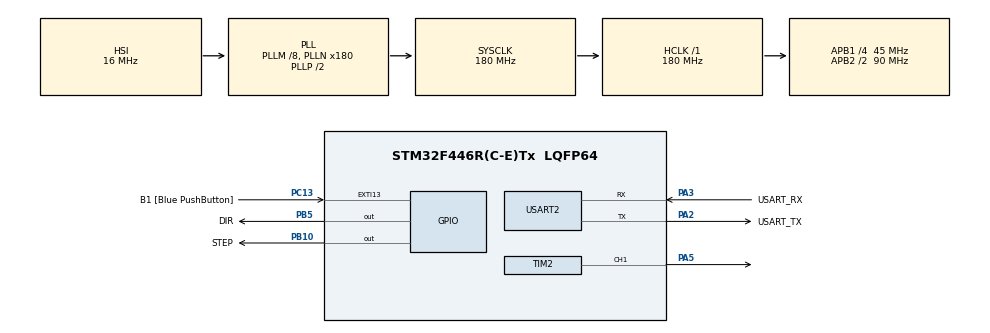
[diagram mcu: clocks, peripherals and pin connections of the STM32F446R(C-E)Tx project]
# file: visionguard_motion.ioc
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Mcu.Family=STM32F4
Mcu.Name=STM32F446R(C-E)Tx
Mcu.Package=LQFP64
NVIC.PriorityGroup=NVIC_PRIORITYGROUP_0
PA13.GPIO_Label=TMS
PA13.Mode=Serial_Wire
PA13.Signal=SYS_JTMS-SWDIO
PA14.GPIO_Label=TCK
PA14.Mode=Serial_Wire
PA14.Signal=SYS_JTCK-SWCLK
PA2.GPIO_Label=USART_TX
PA2.Mode=Asynchronous
PA2.Signal=USART2_TX
PA3.GPIO_Label=USART_RX
PA3.Mode=Asynchronous
PA3.Signal=USART2_RX
PA5.Signal=S_TIM2_CH1_ETR
PB10.GPIO_Label=STEP
PB10.Signal=GPIO_Output
PB3.GPIO_Label=SWO
PB3.Signal=SYS_JTDO-SWO
PB5.GPIO_Label=DIR
PB5.Signal=GPIO_Output
PC13.GPIO_Label=B1 [Blue PushButton]
PC13.GPIO_ModeDefaultEXTI=GPIO_MODE_IT_FALLING
PC13.Signal=GPXTI13
PC14-OSC32_IN.Mode=LSE-External-Oscillator
PC14-OSC32_IN.Signal=RCC_OSC32_IN
PC15-OSC32_OUT.Mode=LSE-External-Oscillator
PC15-OSC32_OUT.Signal=RCC_OSC32_OUT
PH0-OSC_IN.Mode=HSE-External-Oscillator
PH0-OSC_IN.Signal=RCC_OSC_IN
PH1-OSC_OUT.Mode=HSE-External-Oscillator
PH1-OSC_OUT.Signal=RCC_OSC_OUT
ProjectManager.HeapSize=0x200
ProjectManager.StackSize=0x400
ProjectManager.TargetToolchain=STM32CubeIDE
RCC.48MHZClocksFreq_Value=84000000
RCC.AHBFreq_Value=180000000
RCC.APB1CLKDivider=RCC_HCLK_DIV4
RCC.APB1Freq_Value=45000000
RCC.APB1TimFreq_Value=90000000
RCC.APB2CLKDivider=RCC_HCLK_DIV2
RCC.APB2Freq_Value=90000000
RCC.APB2TimFreq_Value=180000000
RCC.CortexFreq_Value=180000000
RCC.FLatency-AdvancedSettings=FLASH_LATENCY_5
RCC.HCLKFreq_Value=180000000
RCC.HSE_VALUE=8000000
RCC.HSI_VALUE=16000000
RCC.PLLM=8
RCC.PLLN=180
RCC.SYSCLKFreq_VALUE=180000000
RCC.SYSCLKSource=RCC_SYSCLKSOURCE_PLLCLK
RCC.USBFreq_Value=180000000
RCC.VCOOutputFreq_Value=360000000
SH.S_TIM2_CH1_ETR.0=TIM2_CH1,PWM Generation1 CH1
TIM2.Channel-PWM\ Generation1\ CH1=TIM_CHANNEL_1
TIM2.Period=999
TIM2.Prescaler=179
USART2.VirtualMode=VM_ASYNC
VP_TIM2_VS_ClockSourceINT.Mode=Internal
board=NUCLEO-F446RE

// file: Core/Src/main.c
/* USER CODE BEGIN Header */
/**
  ******************************************************************************
  * @file           : main.c
  * @brief          : VisionGuard Motion Controller
  ******************************************************************************
  */
/* USER CODE END Header */
#include "main.h"

/* USER CODE BEGIN Includes */
#include <string.h>
#include <stdlib.h>
/* USER CODE END Includes */

TIM_HandleTypeDef htim2;

UART_HandleTypeDef huart2;

/* USER CODE BEGIN PV */
uint8_t rx_buffer[32];
uint8_t rx_index = 0;
volatile int32_t current_speed = 800;
/* USER CODE END PV */

void SystemClock_Config(void);
static void MX_GPIO_Init(void);
static void MX_USART2_UART_Init(void);
static void MX_TIM2_Init(void);
/* USER CODE BEGIN PFP */
void execute_command(char *cmd);
void move_steps(int32_t steps);
void delay_us(uint32_t us);
/* USER CODE END PFP */

/* USER CODE BEGIN 0 */
void delay_us(uint32_t us) {
    uint32_t start = DWT->CYCCNT;
    uint32_t cycles = us * (SystemCoreClock / 1000000);
    while ((DWT->CYCCNT - start) < cycles);
}
/* USER CODE END 0 */

int main(void)
{

  /* MCU Configuration--------------------------------------------------------*/

  /* Reset of all peripherals, Initializes the Flash interface and the Systick. */
  HAL_Init();

  /* Configure the system clock */
  SystemClock_Config();

  /* Initialize all configured peripherals */
  MX_GPIO_Init();
  MX_USART2_UART_Init();
  MX_TIM2_Init();
  /* USER CODE BEGIN 2 */
  CoreDebug->DEMCR |= CoreDebug_DEMCR_TRCENA_Msk;
  DWT->CYCCNT = 0;
  DWT->CTRL |= DWT_CTRL_CYCCNTENA_Msk;

  HAL_TIM_PWM_Start(&htim2, TIM_CHANNEL_1);
  __HAL_TIM_SET_COMPARE(&htim2, TIM_CHANNEL_1, 0);  // LEDs off at startup

  HAL_UART_Transmit(&huart2, (uint8_t*)"READY\n", 6, 100);
  /* USER CODE END 2 */

  /* Infinite loop */
  /* USER CODE BEGIN WHILE */
  uint8_t byte;
  while (1)
  {
    if (HAL_UART_Receive(&huart2, &byte, 1, 10) == HAL_OK) {
        if (byte == '\n' || byte == '\r') {
            if (rx_index > 0) {
                rx_buffer[rx_index] = '\0';
                execute_command((char*)rx_buffer);
                rx_index = 0;
            }
        } else if (rx_index < 31) {
            rx_buffer[rx_index++] = byte;
        }
    }
    /* USER CODE END WHILE */

  }
}

void SystemClock_Config(void)
{
  RCC_OscInitTypeDef RCC_OscInitStruct = {0};
  RCC_ClkInitTypeDef RCC_ClkInitStruct = {0};

  /** Configure the main internal regulator output voltage
  */
  __HAL_RCC_PWR_CLK_ENABLE();
  __HAL_PWR_VOLTAGESCALING_CONFIG(PWR_REGULATOR_VOLTAGE_SCALE1);

  /** Initializes the RCC Oscillators according to the specified parameters
  * in the RCC_OscInitTypeDef structure.
  */
  RCC_OscInitStruct.OscillatorType = RCC_OSCILLATORTYPE_HSI;
  RCC_OscInitStruct.HSIState = RCC_HSI_ON;
  RCC_OscInitStruct.HSICalibrationValue = RCC_HSICALIBRATION_DEFAULT;
  RCC_OscInitStruct.PLL.PLLState = RCC_PLL_ON;
  RCC_OscInitStruct.PLL.PLLSource = RCC_PLLSOURCE_HSI;
  RCC_OscInitStruct.PLL.PLLM = 8;
  RCC_OscInitStruct.PLL.PLLN = 180;
  RCC_OscInitStruct.PLL.PLLP = RCC_PLLP_DIV2;
  RCC_OscInitStruct.PLL.PLLQ = 2;
  RCC_OscInitStruct.PLL.PLLR = 2;
  if (HAL_RCC_OscConfig(&RCC_OscInitStruct) != HAL_OK)
  {
    Error_Handler();
  }

  /** Activate the Over-Drive mode
  */
  if (HAL_PWREx_EnableOverDrive() != HAL_OK)
  {
    Error_Handler();
  }

  /** Initializes the CPU, AHB and APB buses clocks
  */
  RCC_ClkInitStruct.ClockType = RCC_CLOCKTYPE_HCLK|RCC_CLOCKTYPE_SYSCLK
                              |RCC_CLOCKTYPE_PCLK1|RCC_CLOCKTYPE_PCLK2;
  RCC_ClkInitStruct.SYSCLKSource = RCC_SYSCLKSOURCE_PLLCLK;
  RCC_ClkInitStruct.AHBCLKDivider = RCC_SYSCLK_DIV1;
  RCC_ClkInitStruct.APB1CLKDivider = RCC_HCLK_DIV4;
  RCC_ClkInitStruct.APB2CLKDivider = RCC_HCLK_DIV2;

  if (HAL_RCC_ClockConfig(&RCC_ClkInitStruct, FLASH_LATENCY_5) != HAL_OK)
  {
    Error_Handler();
  }
}

static void MX_TIM2_Init(void)
{

  TIM_ClockConfigTypeDef sClockSourceConfig = {0};
  TIM_MasterConfigTypeDef sMasterConfig = {0};
  TIM_OC_InitTypeDef sConfigOC = {0};

  htim2.Instance = TIM2;
  htim2.Init.Prescaler = 179;
  htim2.Init.CounterMode = TIM_COUNTERMODE_UP;
  htim2.Init.Period = 999;
  htim2.Init.ClockDivision = TIM_CLOCKDIVISION_DIV1;
  htim2.Init.AutoReloadPreload = TIM_AUTORELOAD_PRELOAD_DISABLE;
  if (HAL_TIM_Base_Init(&htim2) != HAL_OK)
  {
    Error_Handler();
  }
  sClockSourceConfig.ClockSource = TIM_CLOCKSOURCE_INTERNAL;
  if (HAL_TIM_ConfigClockSource(&htim2, &sClockSourceConfig) != HAL_OK)
  {
    Error_Handler();
  }
  if (HAL_TIM_PWM_Init(&htim2) != HAL_OK)
  {
    Error_Handler();
  }
  sMasterConfig.MasterOutputTrigger = TIM_TRGO_RESET;
  sMasterConfig.MasterSlaveMode = TIM_MASTERSLAVEMODE_DISABLE;
  if (HAL_TIMEx_MasterConfigSynchronization(&htim2, &sMasterConfig) != HAL_OK)
  {
    Error_Handler();
  }
  sConfigOC.OCMode = TIM_OCMODE_PWM1;
  sConfigOC.Pulse = 0;
  sConfigOC.OCPolarity = TIM_OCPOLARITY_HIGH;
  sConfigOC.OCFastMode = TIM_OCFAST_DISABLE;
  if (HAL_TIM_PWM_ConfigChannel(&htim2, &sConfigOC, TIM_CHANNEL_1) != HAL_OK)
  {
    Error_Handler();
  }
  HAL_TIM_MspPostInit(&htim2);

}

static void MX_USART2_UART_Init(void)
{

  huart2.Instance = USART2;
  huart2.Init.BaudRate = 115200;
  huart2.Init.WordLength = UART_WORDLENGTH_8B;
  huart2.Init.StopBits = UART_STOPBITS_1;
  huart2.Init.Parity = UART_PARITY_NONE;
  huart2.Init.Mode = UART_MODE_TX_RX;
  huart2.Init.HwFlowCtl = UART_HWCONTROL_NONE;
  huart2.Init.OverSampling = UART_OVERSAMPLING_16;
  if (HAL_UART_Init(&huart2) != HAL_OK)
  {
    Error_Handler();
  }

}

static void MX_GPIO_Init(void)
{
  GPIO_InitTypeDef GPIO_InitStruct = {0};

  /* GPIO Ports Clock Enable */
  __HAL_RCC_GPIOC_CLK_ENABLE();
  __HAL_RCC_GPIOH_CLK_ENABLE();
  __HAL_RCC_GPIOA_CLK_ENABLE();
  __HAL_RCC_GPIOB_CLK_ENABLE();

  /*Configure GPIO pin Output Level */
  HAL_GPIO_WritePin(GPIOB, STEP_Pin|DIR_Pin, GPIO_PIN_RESET);

  /*Configure GPIO pin : B1_Pin */
  GPIO_InitStruct.Pin = B1_Pin;
  GPIO_InitStruct.Mode = GPIO_MODE_IT_FALLING;
  GPIO_InitStruct.Pull = GPIO_NOPULL;
  HAL_GPIO_Init(B1_GPIO_Port, &GPIO_InitStruct);

  /*Configure GPIO pins : STEP_Pin DIR_Pin */
  GPIO_InitStruct.Pin = STEP_Pin|DIR_Pin;
  GPIO_InitStruct.Mode = GPIO_MODE_OUTPUT_PP;
  GPIO_InitStruct.Pull = GPIO_NOPULL;
  GPIO_InitStruct.Speed = GPIO_SPEED_FREQ_LOW;
  HAL_GPIO_Init(GPIOB, &GPIO_InitStruct);

}

/* USER CODE BEGIN 4 */
void move_steps(int32_t steps) {
    if (steps == 0) return;

    if (steps > 0) {
        HAL_GPIO_WritePin(GPIOB, DIR_Pin, GPIO_PIN_SET);
    } else {
        HAL_GPIO_WritePin(GPIOB, DIR_Pin, GPIO_PIN_RESET);
        steps = -steps;
    }

    uint32_t half_period_us = 500000 / current_speed;

    for (int32_t i = 0; i < steps; i++) {
        HAL_GPIO_WritePin(GPIOB, STEP_Pin, GPIO_PIN_SET);
        delay_us(half_period_us);
        HAL_GPIO_WritePin(GPIOB, STEP_Pin, GPIO_PIN_RESET);
        delay_us(half_period_us);
    }
}

void execute_command(char *cmd) {
    if (strncmp(cmd, "HOME", 4) == 0) {
        HAL_UART_Transmit(&huart2, (uint8_t*)"OK\n", 3, 100);
    }
    else if (strncmp(cmd, "MOV:", 4) == 0) {
        int32_t steps = atoi(cmd + 4);
        move_steps(steps);
        HAL_UART_Transmit(&huart2, (uint8_t*)"OK\n", 3, 100);
    }
    else if (strncmp(cmd, "SPEED:", 6) == 0) {
        int32_t speed = atoi(cmd + 6);
        if (speed >= 100 && speed <= 2000) {
            current_speed = speed;
            HAL_UART_Transmit(&huart2, (uint8_t*)"OK\n", 3, 100);
        } else {
            HAL_UART_Transmit(&huart2, (uint8_t*)"ERR\n", 4, 100);
        }
    }
    else if (strncmp(cmd, "LIGHT:SET:", 10) == 0) {
        int32_t val = atoi(cmd + 10);
        if (val < 0) val = 0;
        if (val > 999) val = 999;
        __HAL_TIM_SET_COMPARE(&htim2, TIM_CHANNEL_1, val);
        HAL_UART_Transmit(&huart2, (uint8_t*)"OK\n", 3, 100);
    }
    else if (strncmp(cmd, "LIGHT:ON", 8) == 0) {
        __HAL_TIM_SET_COMPARE(&htim2, TIM_CHANNEL_1, 999);
        HAL_UART_Transmit(&huart2, (uint8_t*)"OK\n", 3, 100);
    }
    else if (strncmp(cmd, "LIGHT:OFF", 9) == 0) {
        __HAL_TIM_SET_COMPARE(&htim2, TIM_CHANNEL_1, 0);
        HAL_UART_Transmit(&huart2, (uint8_t*)"OK\n", 3, 100);
    }
    else {
        HAL_UART_Transmit(&huart2, (uint8_t*)"ERR\n", 4, 100);
    }
}
/* USER CODE END 4 */

void Error_Handler(void)
{
  __disable_irq();
  while (1)
  {
  }
}
